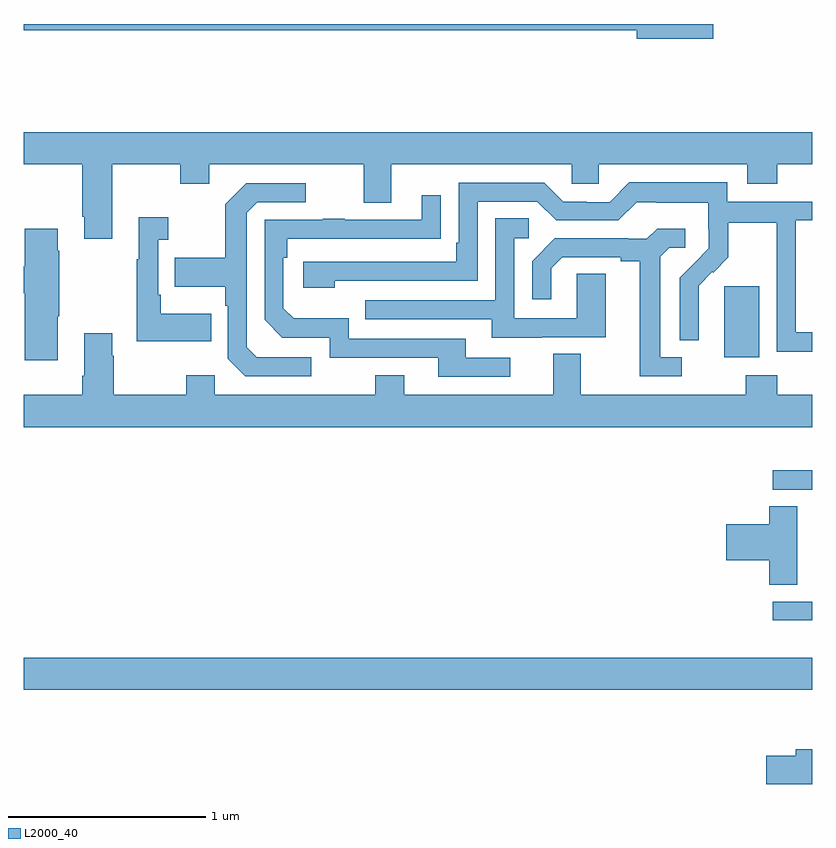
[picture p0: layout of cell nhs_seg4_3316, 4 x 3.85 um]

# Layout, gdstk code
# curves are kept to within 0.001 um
import gdstk
lib = gdstk.Library(unit=1e-6, precision=1e-09)
def R(c, l, rs):  # rectangles x0, y0, x1, y1
    for r in rs: c.add(gdstk.rectangle(r[:2], r[2:], *l))
def P(c, l, *ps):  # polygons
    for p in ps: c.add(gdstk.Polygon(p, *l))
L2000_40 = (2000, 40)

nhs_seg4_3316 = lib.new_cell('nhs_seg4_3316')
R(nhs_seg4_3316, L2000_40, [(287,759.524,291,759.688), (290.799,759.876,291,759.972), (290.799,760.539,291,760.638), (290.552,761.21,290.731,761.571)])
P(nhs_seg4_3316, L2000_40, [(290.497,762.9),(287,762.9),(287,762.868),(290.108,762.868),(290.108,762.826),(290.497,762.826)],
  [(287.449,762.188),(287.794,762.188),(287.794,762.089),(287.941,762.089),(287.941,762.188),(288.725,762.188),(288.725,761.994),(288.865,761.994),(288.865,762.188),(289.779,762.188),(289.779,762.09),(289.917,762.09),(289.917,762.188),(290.669,762.188),(290.669,762.089),(290.822,762.089),(290.822,762.188),(291,762.188),(291,762.352),(287,762.352),(287,762.188),(287.297,762.188),(287.297,761.923),(287.309,761.923),(287.309,761.811),(287.449,761.811)],
  [(291,761.337),(290.916,761.337),(290.916,761.904),(291,761.904),(291,762),(290.568,762),(290.568,762.097),(290.071,762.097),(289.971,761.997),(289.856,761.997),(289.856,762),(289.737,762),(289.641,762.096),(289.206,762.096),(289.206,761.791),(289.193,761.791),(289.193,761.694),(288.417,761.694),(288.417,761.564),(288.578,761.564),(288.578,761.598),(289.302,761.598),(289.302,762),(289.605,762),(289.701,761.904),(290.016,761.904),(290.109,761.997),(290.209,761.997),(290.209,761.993),(290.472,761.993),(290.472,761.859),(290.474,761.859),(290.474,761.762),(290.328,761.614),(290.328,761.296),(290.424,761.296),(290.423,761.573),(290.493,761.643),(290.496,761.64),(290.573,761.717),(290.573,761.892),(290.818,761.892),(290.818,761.668),(290.82,761.668),(290.82,761.239),(291,761.239)],
  [(288.46,761.211),(288.183,761.211),(288.132,761.262),(288.132,761.943),(288.186,761.997),(288.43,761.997),(288.43,762.093),(288.129,762.093),(288.024,761.987),(288.024,761.715),(287.767,761.715),(287.767,761.567),(288.024,761.567),(288.024,761.471),(288.036,761.471),(288.036,761.202),(288.123,761.115),(288.46,761.115)],
  [(289.468,761.208),(289.243,761.208),(289.243,761.304),(288.648,761.304),(288.648,761.407),(288.371,761.407),(288.318,761.46),(288.318,761.714),(288.338,761.714),(288.338,761.811),(289.115,761.812),(289.115,762.031),(289.019,762.031),(289.019,761.907),(288.629,761.907),(288.629,761.912),(288.517,761.912),(288.517,761.907),(288.222,761.907),(288.222,761.4),(288.312,761.31),(288.552,761.31),(288.552,761.208),(289.103,761.208),(289.103,761.112),(289.468,761.112)],
  [(287.951,761.431),(287.695,761.431),(287.695,761.527),(287.682,761.527),(287.682,761.807),(287.734,761.807),(287.734,761.92),(287.585,761.92),(287.585,761.707),(287.574,761.707),(287.574,761.291),(287.951,761.291)],
  [(289.627,761.313),(289.951,761.313),(289.951,761.633),(289.806,761.633),(289.806,761.409),(289.488,761.409),(289.488,761.814),(289.561,761.814),(289.561,761.915),(289.392,761.915),(289.392,761.499),(288.733,761.499),(288.733,761.403),(289.373,761.403),(289.373,761.309),(289.627,761.309)],
  [(290.338,761.211),(290.227,761.211),(290.227,761.719),(290.274,761.766),(290.356,761.766),(290.356,761.863),(290.212,761.863),(290.16,761.811),(290.066,761.811),(290.066,761.814),(289.694,761.814),(289.578,761.698),(289.578,761.505),(289.675,761.505),(289.675,761.661),(289.732,761.718),(290.027,761.718),(290.027,761.696),(290.123,761.696),(290.123,761.115),(290.338,761.115)],
  [(287.173,761.419),(287.181,761.419),(287.181,761.75),(287.173,761.75),(287.173,761.863),(287.006,761.863),(287.006,761.672),(287,761.672),(287,761.536),(287.006,761.536),(287.006,761.196),(287.173,761.196)],
  [(291,761.02),(290.822,761.02),(290.822,761.119),(290.662,761.119),(290.662,761.02),(289.825,761.02),(289.825,761.228),(289.685,761.228),(289.685,761.02),(288.931,761.02),(288.931,761.119),(288.784,761.119),(288.784,761.02),(287.97,761.02),(287.97,761.119),(287.824,761.119),(287.824,761.02),(287.457,761.02),(287.457,761.219),(287.449,761.219),(287.449,761.332),(287.309,761.332),(287.309,761.116),(287.297,761.116),(287.297,761.02),(287,761.02),(287,760.856),(291,760.856)],
  [(290.923,760.454),(290.78,760.454),(290.78,760.364),(290.562,760.364),(290.562,760.181),(290.78,760.181),(290.78,760.057),(290.923,760.057)],
  [(291,759.223),(290.915,759.223),(290.915,759.189),(290.766,759.189),(290.766,759.047),(291,759.047)])

lib.write_gds('nhs_seg4_3316.gds')
